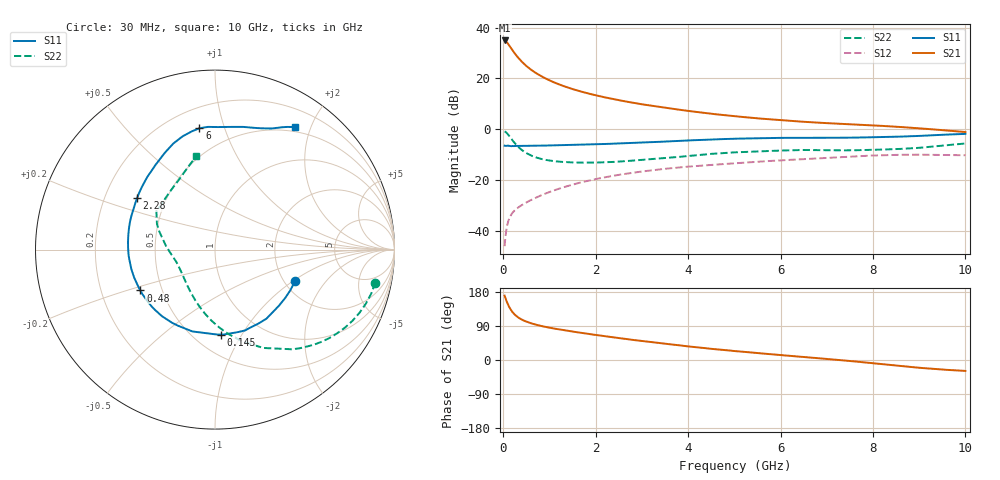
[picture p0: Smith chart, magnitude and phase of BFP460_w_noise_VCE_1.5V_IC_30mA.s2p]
! (c) 2016  Infineon Technologies AG, Munich
! Infineon Technologies  Discrete & RF Semiconductors
! BFP460
! VCE =  1.5 V,  IC =  30 mA
! Common Emitter S-Parameters:  Jan 2016
# GHz  S  MA  R  50
!  f  S11  S21  S12  S22
! GHz  MAG  ANG  MAG  ANG  MAG  ANG  MAG  ANG
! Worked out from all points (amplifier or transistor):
!   229 points, 30 MHz to 10 GHz, reference 50 ohm
!   highest |S21| = 34.9 dB at 30 MHz (marker M1)
!   |S21| within 3 dB of that: start of sweep to 168.2 MHz
!   unconditionally stable (mu >= 1): 1.409 GHz to 8.358 GHz
!   at 280 MHz: K = 0.53, MSG = 30.2 dB, |S12| = -31.3 dB
!   at 1.78 GHz: K = 1.02, MAG = 16.5 dB, |S12| = -20.4 dB
!   at 10 GHz: K = 0.99, MSG = 4.6 dB, |S12| = -10.1 dB
!   lowest NFmin = 1.47 dB at 450 MHz
!   S11 on the Smith chart (normalised r, x): 30 MHz: 2.28, -1.04; 145 MHz: 0.67, -0.82; 480 MHz: 0.38, -0.22; 2.28 GHz: 0.34, +0.27; 6 GHz: 0.33, +0.83; 10 GHz: 0.43, +1.77
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0.03  0.4792 -21.6  55.76 169.8  0.0051 84.1  0.9122 -11.6
0.05  0.475 -34.6  54.03 162.1  0.0081 79.3  0.8929 -19.7
0.07  0.4751 -48.1  52.29 155.6  0.0111 73.5  0.8625 -27.4
0.09  0.4778 -59.7  49.77 149.8  0.0136 70.3  0.8246 -34.5
0.12  0.4769 -74.8  45.74 141.9  0.0168 65.5  0.7636 -44.0
0.145  0.4745 -86.1  42.42 136.3  0.0191 62.6  0.7117 -51.0
0.2  0.4731 -105.4  35.86 126.3  0.0231 58.3  0.6108 -63.8
0.26  0.4726 -120.5  30.2 118.6  0.0264 56.0  0.5244 -74.5
0.3  0.4743 -128.5  27.11 114.3  0.0282 55.4  0.4783 -80.7
0.4  0.4738 -143.1  21.42 106.6  0.0326 55.2  0.3959 -92.9
0.48  0.4743 -151.3  18.29 102.3  0.036 55.8  0.3524 -100.5
0.7  0.4785 -166.8  12.89 93.4  0.0454 57.9  0.2838 -116.6
0.9  0.4825 -176.2  10.16 87.7  0.0544 59.1  0.2541 -127.0
1.2  0.4877 173.1  7.694 80.9  0.0683 59.5  0.2331 -138.5
1.7  0.5006 159.6  5.481 71.4  0.0918 57.9  0.2229 -151.6
2.28  0.5205 146.5  4.114 61.5  0.1185 54.0  0.2275 -163.6
3.4  0.5717 126.4  2.744 44.5  0.1645 44.4  0.2692 177.1
5.1  0.6594 104.8  1.78 22.7  0.219 30.9  0.3568 155.2
6  0.6818 97.3  1.521 13.0  0.2471 24.0  0.3849 148.1
6.8  0.6831 90.5  1.36 4.9  0.2694 18.3  0.3915 144.3
8.4  0.7134 71.9  1.144 -13.4  0.3151 3.7  0.4075 128.6
10  0.8164 56.8  0.888 -28.8  0.3109 -9.0  0.5294 101.4
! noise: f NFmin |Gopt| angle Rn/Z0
0.45  1.47  0.19  -172  0.12
0.9  1.49  0.17  -164  0.13
1.9  1.61  0.28  -144  0.13
3.5  1.51  0.49  -120  0.18
